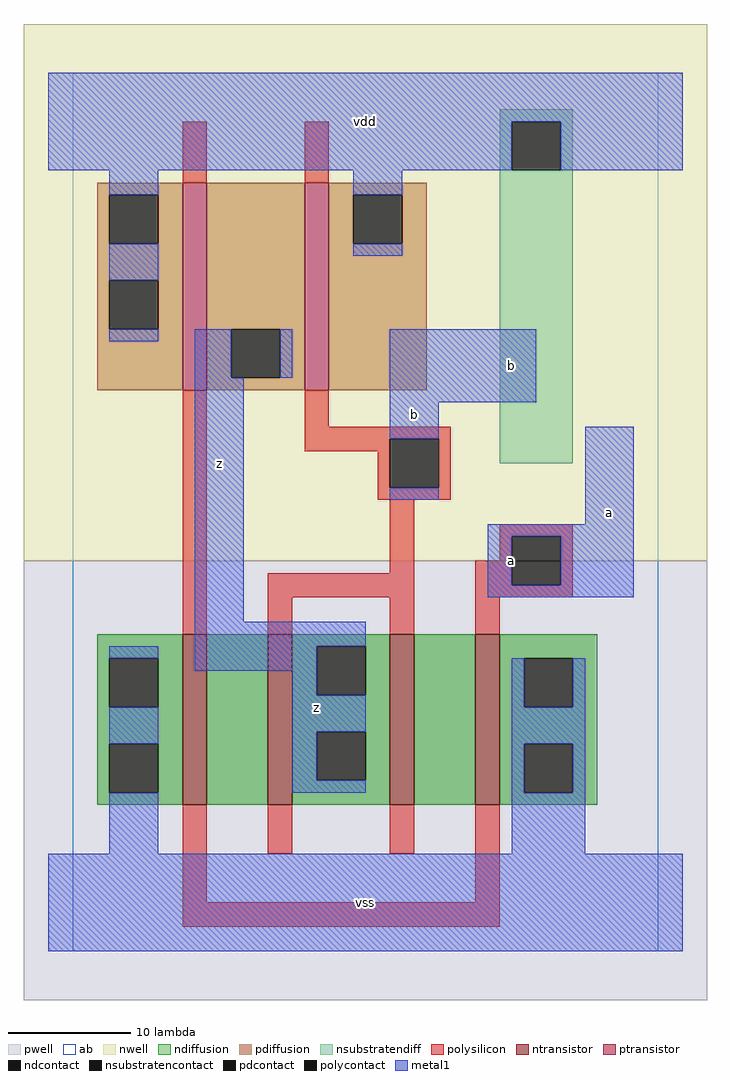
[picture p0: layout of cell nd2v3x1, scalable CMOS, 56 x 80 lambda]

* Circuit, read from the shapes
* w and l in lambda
.subckt nd2v3x1 a b vdd vss z
M1 n1 a vss VSUBS nfet w=14 l=2
M2 z b n1 VSUBS nfet w=14 l=2
M3 n2 b z VSUBS nfet w=14 l=2
M4 vss a n2 VSUBS nfet w=14 l=2
M5 z a vdd vdd pfet w=17 l=2
M6 vdd b z vdd pfet w=17 l=2
.ends

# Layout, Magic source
magic
tech scmos
<< ab >>
rect 0 0 48 72
<< pwell >>
rect -4 -4 52 32
<< nwell >>
rect -4 32 52 76
<< polysilicon >>
rect 9 63 11 68
rect 19 63 21 68
rect 9 26 11 46
rect 19 43 21 46
rect 19 42 31 43
rect 19 41 26 42
rect 25 38 26 41
rect 30 38 31 42
rect 25 37 31 38
rect 26 31 28 37
rect 35 34 41 35
rect 35 32 36 34
rect 16 29 28 31
rect 16 26 18 29
rect 26 26 28 29
rect 33 30 36 32
rect 40 30 41 34
rect 33 29 41 30
rect 33 26 35 29
rect 9 4 11 12
rect 16 8 18 12
rect 26 8 28 12
rect 33 4 35 12
rect 9 2 35 4
<< ndiffusion >>
rect 2 24 9 26
rect 2 20 3 24
rect 7 20 9 24
rect 2 17 9 20
rect 2 13 3 17
rect 7 13 9 17
rect 2 12 9 13
rect 11 12 16 26
rect 18 25 26 26
rect 18 21 20 25
rect 24 21 26 25
rect 18 18 26 21
rect 18 14 20 18
rect 24 14 26 18
rect 18 12 26 14
rect 28 12 33 26
rect 35 24 43 26
rect 35 20 37 24
rect 41 20 43 24
rect 35 17 43 20
rect 35 13 37 17
rect 41 13 43 17
rect 35 12 43 13
<< pdiffusion >>
rect 2 62 9 63
rect 2 58 3 62
rect 7 58 9 62
rect 2 55 9 58
rect 2 51 3 55
rect 7 51 9 55
rect 2 46 9 51
rect 11 51 19 63
rect 11 47 13 51
rect 17 47 19 51
rect 11 46 19 47
rect 21 62 29 63
rect 21 58 23 62
rect 27 58 29 62
rect 21 46 29 58
<< metal1 >>
rect -2 68 50 72
rect -2 64 36 68
rect 40 64 50 68
rect 3 62 7 64
rect 3 55 7 58
rect 23 62 27 64
rect 23 57 27 58
rect 3 50 7 51
rect 10 47 13 51
rect 17 47 18 51
rect 10 27 14 47
rect 26 45 38 51
rect 26 42 30 45
rect 26 37 30 38
rect 42 35 46 43
rect 34 34 46 35
rect 34 30 36 34
rect 40 30 46 34
rect 34 29 46 30
rect 10 25 24 27
rect 3 24 7 25
rect 10 23 20 25
rect 3 17 7 20
rect 18 21 20 23
rect 18 18 24 21
rect 18 14 20 18
rect 18 13 24 14
rect 36 20 37 24
rect 41 20 42 24
rect 36 17 42 20
rect 36 13 37 17
rect 41 13 42 17
rect 3 8 7 13
rect 36 8 42 13
rect -2 0 50 8
<< ntransistor >>
rect 9 12 11 26
rect 16 12 18 26
rect 26 12 28 26
rect 33 12 35 26
<< ptransistor >>
rect 9 46 11 63
rect 19 46 21 63
<< polycontact >>
rect 26 38 30 42
rect 36 30 40 34
<< ndcontact >>
rect 3 20 7 24
rect 3 13 7 17
rect 20 21 24 25
rect 20 14 24 18
rect 37 20 41 24
rect 37 13 41 17
<< pdcontact >>
rect 3 58 7 62
rect 3 51 7 55
rect 13 47 17 51
rect 23 58 27 62
<< nsubstratencontact >>
rect 36 64 40 68
<< nsubstratendiff >>
rect 35 68 41 69
rect 35 64 36 68
rect 40 64 41 68
rect 35 40 41 64
<< labels >>
rlabel metal1 20 20 20 20 6 z
rlabel metal1 12 40 12 40 6 z
rlabel metal1 24 4 24 4 6 vss
rlabel metal1 28 44 28 44 6 b
rlabel metal1 24 68 24 68 6 vdd
rlabel metal1 36 32 36 32 6 a
rlabel metal1 44 36 44 36 6 a
rlabel metal1 36 48 36 48 6 b
<< end >>
